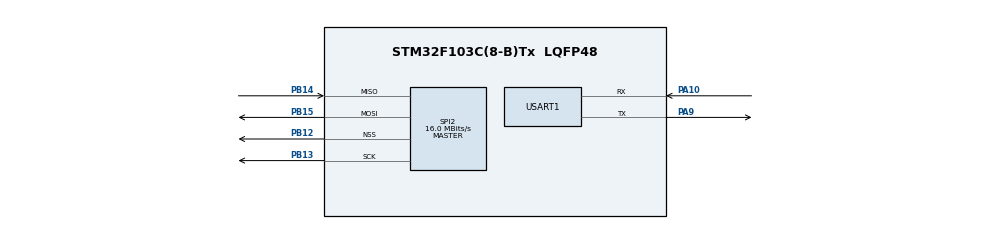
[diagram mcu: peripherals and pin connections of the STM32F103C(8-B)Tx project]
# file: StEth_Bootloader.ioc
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Mcu.Family=STM32F1
Mcu.Name=STM32F103C(8-B)Tx
Mcu.Package=LQFP48
NVIC.PriorityGroup=NVIC_PRIORITYGROUP_4
PA10.Mode=Asynchronous
PA10.Signal=USART1_RX
PA13.Mode=Serial_Wire
PA13.Signal=SYS_JTMS-SWDIO
PA14.Mode=Serial_Wire
PA14.Signal=SYS_JTCK-SWCLK
PA9.Mode=Asynchronous
PA9.Signal=USART1_TX
PB12.Mode=NSS_Signal_Hard_Output
PB12.Signal=SPI2_NSS
PB13.Mode=Full_Duplex_Master
PB13.Signal=SPI2_SCK
PB14.Mode=Full_Duplex_Master
PB14.Signal=SPI2_MISO
PB15.Mode=Full_Duplex_Master
PB15.Signal=SPI2_MOSI
ProjectManager.HeapSize=0x200
ProjectManager.StackSize=0x400
ProjectManager.TargetToolchain=Makefile
RCC.AHBFreq_Value=64000000
RCC.APB1CLKDivider=RCC_HCLK_DIV2
RCC.APB1Freq_Value=32000000
RCC.APB1TimFreq_Value=64000000
RCC.APB2Freq_Value=64000000
RCC.APB2TimFreq_Value=64000000
RCC.HCLKFreq_Value=64000000
RCC.PLLMUL=RCC_PLL_MUL16
RCC.SYSCLKFreq_VALUE=64000000
RCC.SYSCLKSource=RCC_SYSCLKSOURCE_PLLCLK
RCC.USBFreq_Value=64000000
SPI2.BaudRatePrescaler=SPI_BAUDRATEPRESCALER_2
SPI2.CalculateBaudRate=16.0 MBits/s
SPI2.Direction=SPI_DIRECTION_2LINES
SPI2.Mode=SPI_MODE_MASTER
SPI2.VirtualNSS=VM_NSSHARD
SPI2.VirtualType=VM_MASTER
USART1.VirtualMode=VM_ASYNC
VP_CRC_VS_CRC.Mode=CRC_Activate
board=custom

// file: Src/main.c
/* USER CODE BEGIN Header */
/**
  ******************************************************************************
  * @file           : main.c
  * @brief          : Main program body
  ******************************************************************************
  * @attention
  *
  * <h2><center>&copy; Copyright (c) 2020 STMicroelectronics.
  * All rights reserved.</center></h2>
  *
  * This software component is licensed by ST under BSD 3-Clause license,
  * the "License"; You may not use this file except in compliance with the
  * License. You may obtain a copy of the License at:
  *                        opensource.org/licenses/BSD-3-Clause
  *
  ******************************************************************************
  */
/* USER CODE END Header */

#include "main.h"
#include "crc.h"
#include "spi.h"
#include "usart.h"
#include "gpio.h"

/* USER CODE BEGIN Includes */

#include "ethernet.h"
#include "bootloader.h"
#include "util.h"
#include <errno.h>
#include <sys/unistd.h>
#include <stdio.h>

/* USER CODE END Includes */

void SystemClock_Config(void);

/* USER CODE BEGIN 0 */

#ifdef PRINTF_UART
// enable printf functionality on PRINTF_UART
int _write(int file, char *data, int len) {
  if ((file != STDOUT_FILENO) && (file != STDERR_FILENO)) {
    errno = EBADF;
    return -1;
  }

  // HAL_StatusTypeDef status = HAL_UART_Transmit(&PRINTF_UART, (uint8_t *)data, len, 1000);

  const uint8_t* b = data;
  while (len--) {
    LL_USART_TransmitData8(USART1, *b++);

    while (!LL_USART_IsActiveFlag_TXE(PRINTF_UART)){
        // transmit_empty_register=LL_USART_IsActiveFlag_TXE(PRINTF_UART);
        // transfer_complete=LL_USART_IsActiveFlag_TC(PRINTF_UART);
        //LL_USART_ClearFlag_PE(USART1);
      }
    }
  // return (status == HAL_OK ? len : 0);
}
#endif

/* USER CODE END 0 */

int main(void)
{

  /* MCU Configuration--------------------------------------------------------*/

  /* Reset of all peripherals, Initializes the Flash interface and the Systick. */

  LL_APB2_GRP1_EnableClock(LL_APB2_GRP1_PERIPH_AFIO);
  LL_APB1_GRP1_EnableClock(LL_APB1_GRP1_PERIPH_PWR);

  NVIC_SetPriorityGrouping(NVIC_PRIORITYGROUP_4);

  /* System interrupt init*/

  /** NOJTAG: JTAG-DP Disabled and SW-DP Enabled
  */
  LL_GPIO_AF_Remap_SWJ_NOJTAG();

  /* Configure the system clock */
  SystemClock_Config();

  /* Initialize all configured peripherals */
  MX_GPIO_Init();
  MX_SPI2_Init();
  MX_CRC_Init();
  MX_USART1_UART_Init();
  /* USER CODE BEGIN 2 */

  LL_SYSTICK_EnableIT();

  DWT_Delay_Init();

  printf("Ethernet bootloader init...\n\n");
  printf("F_CPU: %ld\n", F_CPU);
  initEthernet();
  bootloaderInit();

  /* USER CODE END 2 */

  /* Infinite loop */
  /* USER CODE BEGIN WHILE */
  while (1)
  {
      loopEthernet();
      bootloaderLoop();
    /* USER CODE END WHILE */

  }
}

void SystemClock_Config(void)
{
  LL_FLASH_SetLatency(LL_FLASH_LATENCY_2);

   if(LL_FLASH_GetLatency() != LL_FLASH_LATENCY_2)
  {
    Error_Handler();
  }
  LL_RCC_HSI_SetCalibTrimming(16);
  LL_RCC_HSI_Enable();

   /* Wait till HSI is ready */
  while(LL_RCC_HSI_IsReady() != 1)
  {

  }
  LL_RCC_PLL_ConfigDomain_SYS(LL_RCC_PLLSOURCE_HSI_DIV_2, LL_RCC_PLL_MUL_16);
  LL_RCC_PLL_Enable();

   /* Wait till PLL is ready */
  while(LL_RCC_PLL_IsReady() != 1)
  {

  }
  LL_RCC_SetAHBPrescaler(LL_RCC_SYSCLK_DIV_1);
  LL_RCC_SetAPB1Prescaler(LL_RCC_APB1_DIV_2);
  LL_RCC_SetAPB2Prescaler(LL_RCC_APB2_DIV_1);
  LL_RCC_SetSysClkSource(LL_RCC_SYS_CLKSOURCE_PLL);

   /* Wait till System clock is ready */
  while(LL_RCC_GetSysClkSource() != LL_RCC_SYS_CLKSOURCE_STATUS_PLL)
  {

  }
  LL_Init1msTick(64000000);
  LL_SetSystemCoreClock(64000000);
}

void Error_Handler(void)
{
}

/************************ (C) COPYRIGHT STMicroelectronics *****END OF FILE****/
